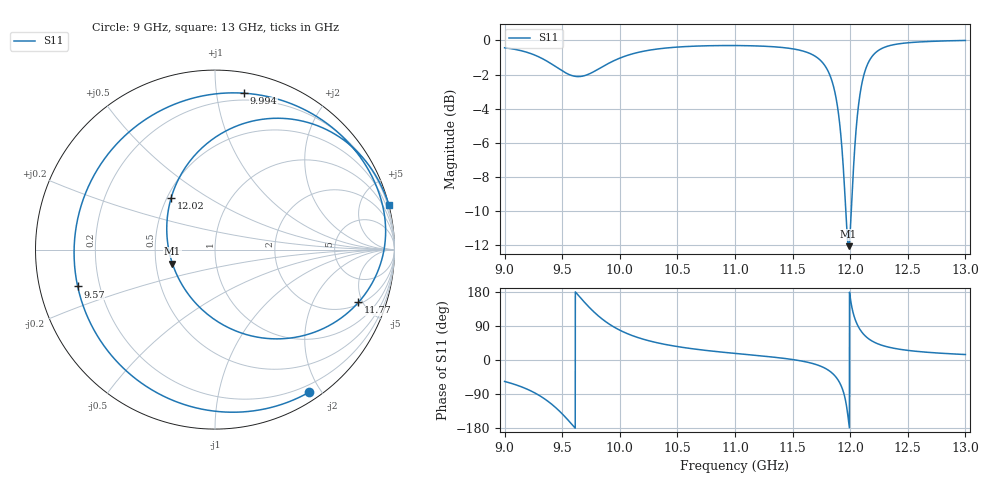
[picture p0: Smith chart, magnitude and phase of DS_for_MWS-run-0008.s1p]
! TOUCHSTONE file generated by CST DESIGN STUDIO
! Date and time: Tue Feb  4 18:03:05 2025
! Project name: C:\Work\MatlabApps\UnitCellOptimizationMatlab\CST\unitcell.cst
! Tree item: Tasks\Sweep1\SPara1\S-Parameters
! Header version: 2024
! Port assignment regex: !\s*Touchstone port\s*([0-9]+)\s*=\s*(CST MWS port|CST DES external port|CST DES block port)\s*(.+)\s* \(\"(.*)\"\)(\s*mode\s*([0-9]+))?.*
! Touchstone port assignment:
! Touchstone port 1 = CST DES external port 1 ("")
# GHz S MA R 50
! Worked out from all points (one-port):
!   4001 points, 9 GHz to 13 GHz, reference 50 ohm
!   lowest |S11| = -12.0 dB at 11.99 GHz (marker M1), VSWR 1.67, Z = 30.5 - j5.13 ohm
!   |S11| at or under -10 dB: 11.96162 GHz to 12.00942 GHz (47.8 MHz wide, 0.399 % of centre)
!   S11 on the Smith chart (normalised r, x): 9 GHz: 0.11, -1.85; 9.57 GHz: 0.12, -0.13; 9.994 GHz: 0.15, +1.19; 11.77 GHz: 2.17, -4.64; 12.02 GHz: 0.53, +0.36; 13 GHz: -0.00, +7.90
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9  0.9519 -56.6
9.158  0.9307 -72.2
9.309  0.8913 -95.0
9.408  0.8531 -116.5
9.5  0.8146 -142.1
9.57  0.7922 -165.0
9.667  0.7851 161.3
9.784  0.8137 124.4
9.88  0.8489 100.6
9.994  0.8861 79.6
10  0.8878 78.7
10.217  0.9316 53.7
10.5  0.9565 35.4
11  0.9664 17.4
11.5  0.9453 1.3
11.772  0.8515 -20.2
11.848  0.7487 -35.8
11.911  0.5613 -61.4
11.949  0.3789 -92.8
11.986  0.2497 -161.6
12  0.2758 165.5
12.021  0.3787 130.1
12.068  0.6282 89.5
12.121  0.7976 66.4
12.182  0.8903 51.5
12.257  0.9406 40.7
12.5  0.9846 25.4
13  1 14.4
